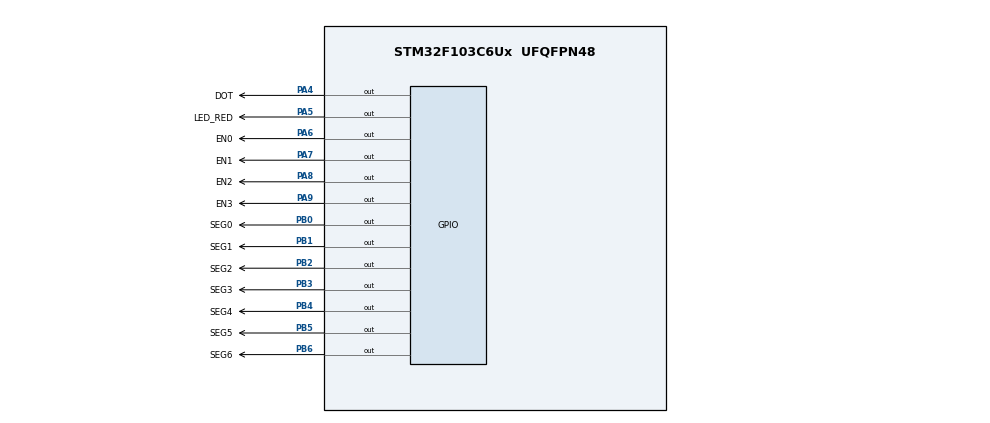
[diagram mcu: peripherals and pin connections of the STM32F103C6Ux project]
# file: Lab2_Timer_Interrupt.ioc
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Mcu.Family=STM32F1
Mcu.Name=STM32F103C6Ux
Mcu.Package=UFQFPN48
NVIC.PriorityGroup=NVIC_PRIORITYGROUP_4
NVIC.TIM2_IRQn=true\:0\:0\:false\:false\:true\:true\:true
PA4.GPIO_Label=DOT
PA4.Signal=GPIO_Output
PA5.GPIO_Label=LED_RED
PA5.Signal=GPIO_Output
PA6.GPIO_Label=EN0
PA6.Signal=GPIO_Output
PA7.GPIO_Label=EN1
PA7.Signal=GPIO_Output
PA8.GPIO_Label=EN2
PA8.Signal=GPIO_Output
PA9.GPIO_Label=EN3
PA9.Signal=GPIO_Output
PB0.GPIO_Label=SEG0
PB0.Signal=GPIO_Output
PB1.GPIO_Label=SEG1
PB1.Signal=GPIO_Output
PB2.GPIO_Label=SEG2
PB2.Signal=GPIO_Output
PB3.GPIO_Label=SEG3
PB3.Signal=GPIO_Output
PB4.GPIO_Label=SEG4
PB4.Signal=GPIO_Output
PB5.GPIO_Label=SEG5
PB5.Signal=GPIO_Output
PB6.GPIO_Label=SEG6
PB6.Signal=GPIO_Output
ProjectManager.HeapSize=0x200
ProjectManager.StackSize=0x400
ProjectManager.TargetToolchain=STM32CubeIDE
RCC.APB1Freq_Value=8000000
RCC.APB2Freq_Value=8000000
TIM2.Period=9
TIM2.Prescaler=7999
VP_SYS_VS_ND.Mode=No_Debug
VP_TIM2_VS_ClockSourceINT.Mode=Internal
board=custom

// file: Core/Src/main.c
/* USER CODE BEGIN Header */
/**
  ******************************************************************************
  * @file           : main.c
  * @brief          : Main program body
  ******************************************************************************
  * @attention
  *
  * <h2><center>&copy; Copyright (c) 2022 STMicroelectronics.
  * All rights reserved.</center></h2>
  *
  * This software component is licensed by ST under BSD 3-Clause license,
  * the "License"; You may not use this file except in compliance with the
  * License. You may obtain a copy of the License at:
  *                        opensource.org/licenses/BSD-3-Clause
  *
  ******************************************************************************
  */
/* USER CODE END Header */
#include "main.h"

/* USER CODE BEGIN Includes */
#include "software_timer.h"
/* USER CODE END Includes */

TIM_HandleTypeDef htim2;

void SystemClock_Config(void);
static void MX_TIM2_Init(void);
static void MX_GPIO_Init(void);

/* USER CODE BEGIN 0 */
void display7SEG(int num){

	switch(num){
		case 0:
			HAL_GPIO_WritePin(SEG0_GPIO_Port, SEG0_Pin, GPIO_PIN_RESET);
			HAL_GPIO_WritePin(SEG1_GPIO_Port, SEG1_Pin, GPIO_PIN_RESET);
			HAL_GPIO_WritePin(SEG2_GPIO_Port, SEG2_Pin, GPIO_PIN_RESET);
			HAL_GPIO_WritePin(SEG3_GPIO_Port, SEG3_Pin, GPIO_PIN_RESET);
			HAL_GPIO_WritePin(SEG4_GPIO_Port, SEG4_Pin, GPIO_PIN_RESET);
			HAL_GPIO_WritePin(SEG5_GPIO_Port, SEG5_Pin, GPIO_PIN_RESET);
			HAL_GPIO_WritePin(SEG6_GPIO_Port, SEG6_Pin, GPIO_PIN_SET);
			break;
		case 1:
			HAL_GPIO_WritePin(SEG0_GPIO_Port, SEG0_Pin, GPIO_PIN_SET);
			HAL_GPIO_WritePin(SEG1_GPIO_Port, SEG1_Pin, GPIO_PIN_RESET);
			HAL_GPIO_WritePin(SEG2_GPIO_Port, SEG2_Pin, GPIO_PIN_RESET);
			HAL_GPIO_WritePin(SEG3_GPIO_Port, SEG3_Pin, GPIO_PIN_SET);
			HAL_GPIO_WritePin(SEG4_GPIO_Port, SEG4_Pin, GPIO_PIN_SET);
			HAL_GPIO_WritePin(SEG5_GPIO_Port, SEG5_Pin, GPIO_PIN_SET);
			HAL_GPIO_WritePin(SEG6_GPIO_Port, SEG6_Pin, GPIO_PIN_SET);
			break;
		case 2:
			HAL_GPIO_WritePin(SEG0_GPIO_Port, SEG0_Pin, GPIO_PIN_RESET);
			HAL_GPIO_WritePin(SEG1_GPIO_Port, SEG1_Pin, GPIO_PIN_RESET);
			HAL_GPIO_WritePin(SEG2_GPIO_Port, SEG2_Pin, GPIO_PIN_SET);
			HAL_GPIO_WritePin(SEG3_GPIO_Port, SEG3_Pin, GPIO_PIN_RESET);
			HAL_GPIO_WritePin(SEG4_GPIO_Port, SEG4_Pin, GPIO_PIN_RESET);
			HAL_GPIO_WritePin(SEG5_GPIO_Port, SEG5_Pin, GPIO_PIN_SET);
			HAL_GPIO_WritePin(SEG6_GPIO_Port, SEG6_Pin, GPIO_PIN_RESET);
			break;
		case 3:
			HAL_GPIO_WritePin(SEG0_GPIO_Port, SEG0_Pin, GPIO_PIN_RESET);
			HAL_GPIO_WritePin(SEG1_GPIO_Port, SEG1_Pin, GPIO_PIN_RESET);
			HAL_GPIO_WritePin(SEG2_GPIO_Port, SEG2_Pin, GPIO_PIN_RESET);
			HAL_GPIO_WritePin(SEG3_GPIO_Port, SEG3_Pin, GPIO_PIN_RESET);
			HAL_GPIO_WritePin(SEG4_GPIO_Port, SEG4_Pin, GPIO_PIN_SET);
			HAL_GPIO_WritePin(SEG5_GPIO_Port, SEG5_Pin, GPIO_PIN_SET);
			HAL_GPIO_WritePin(SEG6_GPIO_Port, SEG6_Pin, GPIO_PIN_RESET);
			break;
		case 4:
			HAL_GPIO_WritePin(SEG0_GPIO_Port, SEG0_Pin, GPIO_PIN_SET);
			HAL_GPIO_WritePin(SEG1_GPIO_Port, SEG1_Pin, GPIO_PIN_RESET);
			HAL_GPIO_WritePin(SEG2_GPIO_Port, SEG2_Pin, GPIO_PIN_RESET);
			HAL_GPIO_WritePin(SEG3_GPIO_Port, SEG3_Pin, GPIO_PIN_SET);
			HAL_GPIO_WritePin(SEG4_GPIO_Port, SEG4_Pin, GPIO_PIN_SET);
			HAL_GPIO_WritePin(SEG5_GPIO_Port, SEG5_Pin, GPIO_PIN_RESET);
			HAL_GPIO_WritePin(SEG6_GPIO_Port, SEG6_Pin, GPIO_PIN_RESET);
			break;
		case 5:
			HAL_GPIO_WritePin(SEG0_GPIO_Port, SEG0_Pin, GPIO_PIN_RESET);
			HAL_GPIO_WritePin(SEG1_GPIO_Port, SEG1_Pin, GPIO_PIN_SET);
			HAL_GPIO_WritePin(SEG2_GPIO_Port, SEG2_Pin, GPIO_PIN_RESET);
			HAL_GPIO_WritePin(SEG3_GPIO_Port, SEG3_Pin, GPIO_PIN_RESET);
			HAL_GPIO_WritePin(SEG4_GPIO_Port, SEG4_Pin, GPIO_PIN_SET);
			HAL_GPIO_WritePin(SEG5_GPIO_Port, SEG5_Pin, GPIO_PIN_RESET);
			HAL_GPIO_WritePin(SEG6_GPIO_Port, SEG6_Pin, GPIO_PIN_RESET);
			break;
		case 6:
			HAL_GPIO_WritePin(SEG0_GPIO_Port, SEG0_Pin, GPIO_PIN_RESET);
			HAL_GPIO_WritePin(SEG1_GPIO_Port, SEG1_Pin, GPIO_PIN_SET);
			HAL_GPIO_WritePin(SEG2_GPIO_Port, SEG2_Pin, GPIO_PIN_RESET);
			HAL_GPIO_WritePin(SEG3_GPIO_Port, SEG3_Pin, GPIO_PIN_RESET);
			HAL_GPIO_WritePin(SEG4_GPIO_Port, SEG4_Pin, GPIO_PIN_RESET);
			HAL_GPIO_WritePin(SEG5_GPIO_Port, SEG5_Pin, GPIO_PIN_RESET);
			HAL_GPIO_WritePin(SEG6_GPIO_Port, SEG6_Pin, GPIO_PIN_RESET);
			break;
		case 7:
			HAL_GPIO_WritePin(SEG0_GPIO_Port, SEG0_Pin, GPIO_PIN_RESET);
			HAL_GPIO_WritePin(SEG1_GPIO_Port, SEG1_Pin, GPIO_PIN_RESET);
			HAL_GPIO_WritePin(SEG2_GPIO_Port, SEG2_Pin, GPIO_PIN_RESET);
			HAL_GPIO_WritePin(SEG3_GPIO_Port, SEG3_Pin, GPIO_PIN_SET);
			HAL_GPIO_WritePin(SEG4_GPIO_Port, SEG4_Pin, GPIO_PIN_SET);
			HAL_GPIO_WritePin(SEG5_GPIO_Port, SEG5_Pin, GPIO_PIN_SET);
			HAL_GPIO_WritePin(SEG6_GPIO_Port, SEG6_Pin, GPIO_PIN_SET);
			break;
		case 8:
			HAL_GPIO_WritePin(SEG0_GPIO_Port, SEG0_Pin, GPIO_PIN_RESET);
			HAL_GPIO_WritePin(SEG1_GPIO_Port, SEG1_Pin, GPIO_PIN_RESET);
			HAL_GPIO_WritePin(SEG2_GPIO_Port, SEG2_Pin, GPIO_PIN_RESET);
			HAL_GPIO_WritePin(SEG3_GPIO_Port, SEG3_Pin, GPIO_PIN_RESET);
			HAL_GPIO_WritePin(SEG4_GPIO_Port, SEG4_Pin, GPIO_PIN_RESET);
			HAL_GPIO_WritePin(SEG5_GPIO_Port, SEG5_Pin, GPIO_PIN_RESET);
			HAL_GPIO_WritePin(SEG6_GPIO_Port, SEG6_Pin, GPIO_PIN_RESET);
			break;
		case 9:
			HAL_GPIO_WritePin(SEG0_GPIO_Port, SEG0_Pin, GPIO_PIN_RESET);
			HAL_GPIO_WritePin(SEG1_GPIO_Port, SEG1_Pin, GPIO_PIN_RESET);
			HAL_GPIO_WritePin(SEG2_GPIO_Port, SEG2_Pin, GPIO_PIN_RESET);
			HAL_GPIO_WritePin(SEG3_GPIO_Port, SEG3_Pin, GPIO_PIN_RESET);
			HAL_GPIO_WritePin(SEG4_GPIO_Port, SEG4_Pin, GPIO_PIN_SET);
			HAL_GPIO_WritePin(SEG5_GPIO_Port, SEG5_Pin, GPIO_PIN_RESET);
			HAL_GPIO_WritePin(SEG6_GPIO_Port, SEG6_Pin, GPIO_PIN_RESET);
			break;
		default:
			HAL_GPIO_WritePin(SEG0_GPIO_Port, SEG0_Pin, GPIO_PIN_RESET);
			HAL_GPIO_WritePin(SEG1_GPIO_Port, SEG1_Pin, GPIO_PIN_RESET);
			HAL_GPIO_WritePin(SEG2_GPIO_Port, SEG2_Pin, GPIO_PIN_RESET);
			HAL_GPIO_WritePin(SEG3_GPIO_Port, SEG3_Pin, GPIO_PIN_RESET);
			HAL_GPIO_WritePin(SEG4_GPIO_Port, SEG4_Pin, GPIO_PIN_RESET);
			HAL_GPIO_WritePin(SEG5_GPIO_Port, SEG5_Pin, GPIO_PIN_RESET);
			HAL_GPIO_WritePin(SEG6_GPIO_Port, SEG6_Pin, GPIO_PIN_SET);
			break;
	}
}
/* USER CODE END 0 */

int main(void)
{

  /* MCU Configuration--------------------------------------------------------*/

  /* Reset of all peripherals, Initializes the Flash interface and the Systick. */
  HAL_Init();

  /* Configure the system clock */
  SystemClock_Config();

  /* Initialize all configured peripherals */
  MX_TIM2_Init();
  MX_GPIO_Init();
  /* USER CODE BEGIN 2 */
HAL_TIM_Base_Start_IT(&htim2);
  /* USER CODE END 2 */

  /* Infinite loop */
  while (1)
  {

  }
}

void SystemClock_Config(void)
{
  RCC_OscInitTypeDef RCC_OscInitStruct = {0};
  RCC_ClkInitTypeDef RCC_ClkInitStruct = {0};

  /** Initializes the RCC Oscillators according to the specified parameters
  * in the RCC_OscInitTypeDef structure.
  */
  RCC_OscInitStruct.OscillatorType = RCC_OSCILLATORTYPE_HSI;
  RCC_OscInitStruct.HSIState = RCC_HSI_ON;
  RCC_OscInitStruct.HSICalibrationValue = RCC_HSICALIBRATION_DEFAULT;
  RCC_OscInitStruct.PLL.PLLState = RCC_PLL_NONE;
  if (HAL_RCC_OscConfig(&RCC_OscInitStruct) != HAL_OK)
  {
    Error_Handler();
  }
  /** Initializes the CPU, AHB and APB buses clocks
  */
  RCC_ClkInitStruct.ClockType = RCC_CLOCKTYPE_HCLK|RCC_CLOCKTYPE_SYSCLK
                              |RCC_CLOCKTYPE_PCLK1|RCC_CLOCKTYPE_PCLK2;
  RCC_ClkInitStruct.SYSCLKSource = RCC_SYSCLKSOURCE_HSI;
  RCC_ClkInitStruct.AHBCLKDivider = RCC_SYSCLK_DIV1;
  RCC_ClkInitStruct.APB1CLKDivider = RCC_HCLK_DIV1;
  RCC_ClkInitStruct.APB2CLKDivider = RCC_HCLK_DIV1;

  if (HAL_RCC_ClockConfig(&RCC_ClkInitStruct, FLASH_LATENCY_0) != HAL_OK)
  {
    Error_Handler();
  }
}

static void MX_TIM2_Init(void)
{

  TIM_ClockConfigTypeDef sClockSourceConfig = {0};
  TIM_MasterConfigTypeDef sMasterConfig = {0};

  htim2.Instance = TIM2;
  htim2.Init.Prescaler = 7999;
  htim2.Init.CounterMode = TIM_COUNTERMODE_UP;
  htim2.Init.Period = 9;
  htim2.Init.ClockDivision = TIM_CLOCKDIVISION_DIV1;
  htim2.Init.AutoReloadPreload = TIM_AUTORELOAD_PRELOAD_DISABLE;
  if (HAL_TIM_Base_Init(&htim2) != HAL_OK)
  {
    Error_Handler();
  }
  sClockSourceConfig.ClockSource = TIM_CLOCKSOURCE_INTERNAL;
  if (HAL_TIM_ConfigClockSource(&htim2, &sClockSourceConfig) != HAL_OK)
  {
    Error_Handler();
  }
  sMasterConfig.MasterOutputTrigger = TIM_TRGO_RESET;
  sMasterConfig.MasterSlaveMode = TIM_MASTERSLAVEMODE_DISABLE;
  if (HAL_TIMEx_MasterConfigSynchronization(&htim2, &sMasterConfig) != HAL_OK)
  {
    Error_Handler();
  }

}

static void MX_GPIO_Init(void)
{
  GPIO_InitTypeDef GPIO_InitStruct = {0};

  /* GPIO Ports Clock Enable */
  __HAL_RCC_GPIOA_CLK_ENABLE();
  __HAL_RCC_GPIOB_CLK_ENABLE();

  /*Configure GPIO pin Output Level */
  HAL_GPIO_WritePin(GPIOA, LED_RED_Pin|EN0_Pin|EN1_Pin, GPIO_PIN_RESET);

  /*Configure GPIO pin Output Level */
  HAL_GPIO_WritePin(GPIOB, SEG0_Pin|SEG1_Pin|SEG2_Pin|SEG3_Pin
                          |SEG4_Pin|SEG5_Pin|SEG6_Pin, GPIO_PIN_RESET);

  /*Configure GPIO pins : LED_RED_Pin EN0_Pin EN1_Pin */
  GPIO_InitStruct.Pin = LED_RED_Pin|EN0_Pin|EN1_Pin;
  GPIO_InitStruct.Mode = GPIO_MODE_OUTPUT_PP;
  GPIO_InitStruct.Pull = GPIO_NOPULL;
  GPIO_InitStruct.Speed = GPIO_SPEED_FREQ_LOW;
  HAL_GPIO_Init(GPIOA, &GPIO_InitStruct);

  /*Configure GPIO pins : SEG0_Pin SEG1_Pin SEG2_Pin SEG3_Pin
                           SEG4_Pin SEG5_Pin SEG6_Pin */
  GPIO_InitStruct.Pin = SEG0_Pin|SEG1_Pin|SEG2_Pin|SEG3_Pin
                          |SEG4_Pin|SEG5_Pin|SEG6_Pin;
  GPIO_InitStruct.Mode = GPIO_MODE_OUTPUT_PP;
  GPIO_InitStruct.Pull = GPIO_NOPULL;
  GPIO_InitStruct.Speed = GPIO_SPEED_FREQ_LOW;
  HAL_GPIO_Init(GPIOB, &GPIO_InitStruct);

}

/* USER CODE BEGIN 4 */
int count = SWITCHING_TIMER;
int EN0_status=0;
int EN1_status=1;
void HAL_TIM_PeriodElapsedCallback ( TIM_HandleTypeDef * htim )
{

	if(count <= 0){
		EN0_status=1-EN0_status;
		EN1_status=1-EN1_status;
		count=SWITCHING_TIMER;
	}else{
		count--;
	}
	if(EN0_status==0){
		display7SEG(1);
	}else{
		display7SEG(2);
	}
	HAL_GPIO_WritePin(EN0_GPIO_Port, EN0_Pin, EN0_status);
	HAL_GPIO_WritePin(EN1_GPIO_Port, EN1_Pin, EN1_status);

}
/* USER CODE END 4 */

void Error_Handler(void)
{
  __disable_irq();
  while (1)
  {
  }
}

/************************ (C) COPYRIGHT STMicroelectronics *****END OF FILE****/
